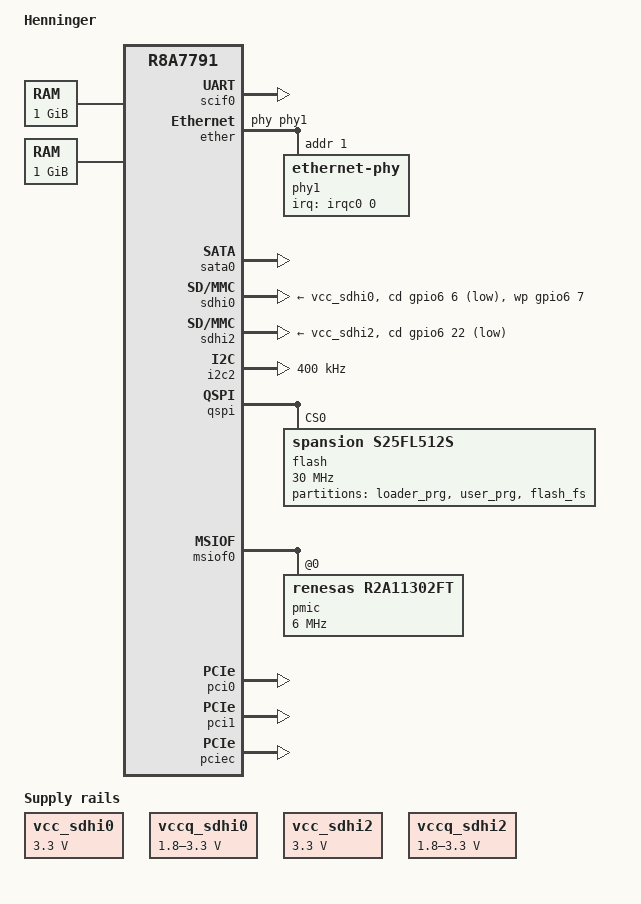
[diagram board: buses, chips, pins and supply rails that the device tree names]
/*
 * Device Tree Source for the Henninger board
 *
 * Copyright (C) 2014 Renesas Solutions Corp.
 * Copyright (C) 2014 Cogent Embedded, Inc.
 *
 * This file is licensed under the terms of the GNU General Public License
 * version 2.  This program is licensed "as is" without any warranty of any
 * kind, whether express or implied.
 */

/dts-v1/;
#include "r8a7791.dtsi"
#include <dt-bindings/gpio/gpio.h>

/ {
	model = "Henninger";
	compatible = "renesas,henninger", "renesas,r8a7791";

	aliases {
		serial0 = &scif0;
	};

	chosen {
		bootargs = "console=ttySC0,38400 ignore_loglevel rw root=/dev/nfs ip=dhcp";
	};

	memory@40000000 {
		device_type = "memory";
		reg = <0 0x40000000 0 0x40000000>;
	};

	memory@200000000 {
		device_type = "memory";
		reg = <2 0x00000000 0 0x40000000>;
	};

	vcc_sdhi0: regulator@0 {
		compatible = "regulator-fixed";

		regulator-name = "SDHI0 Vcc";
		regulator-min-microvolt = <3300000>;
		regulator-max-microvolt = <3300000>;
		regulator-always-on;
	};

	vccq_sdhi0: regulator@1 {
		compatible = "regulator-gpio";

		regulator-name = "SDHI0 VccQ";
		regulator-min-microvolt = <1800000>;
		regulator-max-microvolt = <3300000>;

		gpios = <&gpio2 12 GPIO_ACTIVE_HIGH>;
		gpios-states = <1>;
		states = <3300000 1
			  1800000 0>;
	};

	vcc_sdhi2: regulator@2 {
		compatible = "regulator-fixed";

		regulator-name = "SDHI2 Vcc";
		regulator-min-microvolt = <3300000>;
		regulator-max-microvolt = <3300000>;
		regulator-always-on;
	};

	vccq_sdhi2: regulator@3 {
		compatible = "regulator-gpio";

		regulator-name = "SDHI2 VccQ";
		regulator-min-microvolt = <1800000>;
		regulator-max-microvolt = <3300000>;

		gpios = <&gpio2 26 GPIO_ACTIVE_HIGH>;
		gpios-states = <1>;
		states = <3300000 1
			  1800000 0>;
	};
};

&extal_clk {
	clock-frequency = <20000000>;
};

&pfc {
	scif0_pins: serial0 {
		renesas,groups = "scif0_data_d";
		renesas,function = "scif0";
	};

	ether_pins: ether {
		renesas,groups = "eth_link", "eth_mdio", "eth_rmii";
		renesas,function = "eth";
	};

	phy1_pins: phy1 {
		renesas,groups = "intc_irq0";
		renesas,function = "intc";
	};

	sdhi0_pins: sd0 {
		renesas,groups = "sdhi0_data4", "sdhi0_ctrl";
		renesas,function = "sdhi0";
	};

	sdhi2_pins: sd2 {
		renesas,groups = "sdhi2_data4", "sdhi2_ctrl";
		renesas,function = "sdhi2";
	};

	i2c2_pins: i2c2 {
		renesas,groups = "i2c2";
		renesas,function = "i2c2";
	};

	qspi_pins: spi0 {
		renesas,groups = "qspi_ctrl", "qspi_data4";
		renesas,function = "qspi";
	};

	msiof0_pins: spi1 {
		renesas,groups = "msiof0_clk", "msiof0_sync", "msiof0_rx",
				 "msiof0_tx";
		renesas,function = "msiof0";
	};

	usb0_pins: usb0 {
		renesas,groups = "usb0";
		renesas,function = "usb0";
	};

	usb1_pins: usb1 {
		renesas,groups = "usb1";
		renesas,function = "usb1";
	};
};

&scif0 {
	pinctrl-0 = <&scif0_pins>;
	pinctrl-names = "default";

	status = "okay";
};

&ether {
	pinctrl-0 = <&ether_pins &phy1_pins>;
	pinctrl-names = "default";

	phy-handle = <&phy1>;
	renesas,ether-link-active-low;
	status = "ok";

	phy1: ethernet-phy@1 {
		reg = <1>;
		interrupt-parent = <&irqc0>;
		interrupts = <0 IRQ_TYPE_LEVEL_LOW>;
		micrel,led-mode = <1>;
	};
};

&sata0 {
       status = "okay";
};

&sdhi0 {
	pinctrl-0 = <&sdhi0_pins>;
	pinctrl-names = "default";

	vmmc-supply = <&vcc_sdhi0>;
	vqmmc-supply = <&vccq_sdhi0>;
	cd-gpios = <&gpio6 6 GPIO_ACTIVE_LOW>;
	wp-gpios = <&gpio6 7 GPIO_ACTIVE_HIGH>;
	status = "okay";
};

&sdhi2 {
	pinctrl-0 = <&sdhi2_pins>;
	pinctrl-names = "default";

	vmmc-supply = <&vcc_sdhi2>;
	vqmmc-supply = <&vccq_sdhi2>;
	cd-gpios = <&gpio6 22 GPIO_ACTIVE_LOW>;
	status = "okay";
};

&i2c2 {
	pinctrl-0 = <&i2c2_pins>;
	pinctrl-names = "default";

	status = "okay";
	clock-frequency = <400000>;
};

&qspi {
	pinctrl-0 = <&qspi_pins>;
	pinctrl-names = "default";

	status = "okay";

	flash@0 {
		#address-cells = <1>;
		#size-cells = <1>;
		compatible = "spansion,s25fl512s";
		reg = <0>;
		spi-max-frequency = <30000000>;
		spi-tx-bus-width = <4>;
		spi-rx-bus-width = <4>;
		m25p,fast-read;

		partition@0 {
			label = "loader_prg";
			reg = <0x00000000 0x00040000>;
			read-only;
		};
		partition@40000 {
			label = "user_prg";
			reg = <0x00040000 0x00400000>;
			read-only;
		};
		partition@440000 {
			label = "flash_fs";
			reg = <0x00440000 0x03bc0000>;
		};
	};
};

&msiof0 {
	pinctrl-0 = <&msiof0_pins>;
	pinctrl-names = "default";

	status = "okay";

	pmic@0 {
		compatible = "renesas,r2a11302ft";
		reg = <0>;
		spi-max-frequency = <6000000>;
		spi-cpol;
		spi-cpha;
	};
};

&pci0 {
	status = "okay";
	pinctrl-0 = <&usb0_pins>;
	pinctrl-names = "default";
};

&pci1 {
	status = "okay";
	pinctrl-0 = <&usb1_pins>;
	pinctrl-names = "default";
};

&pcie_bus_clk {
	status = "okay";
};

&pciec {
	status = "okay";
};
